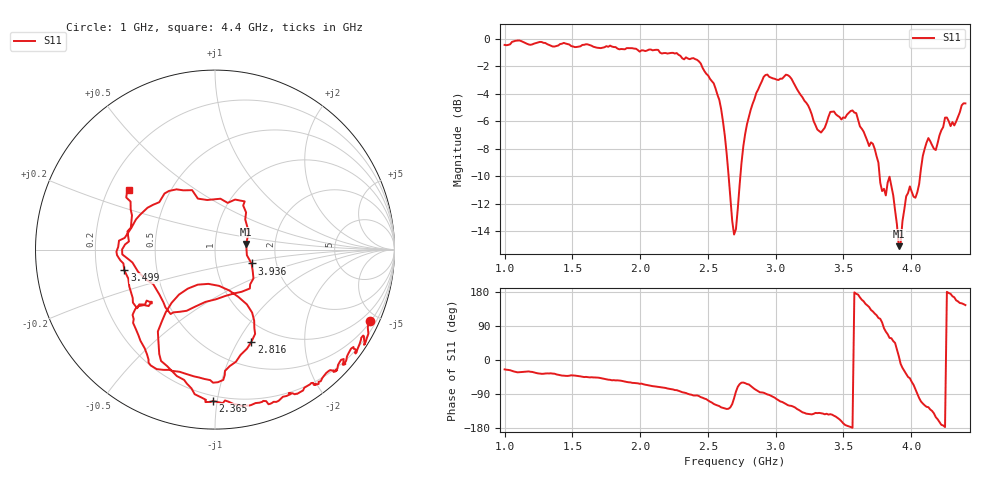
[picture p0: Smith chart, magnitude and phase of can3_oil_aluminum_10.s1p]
# MHz S MA R 50
!  freq  S11
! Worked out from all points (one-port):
!   250 points, 1 GHz to 4.4 GHz, reference 50 ohm
!   lowest |S11| = -15.1 dB at 3.908 GHz (marker M1), VSWR 1.43, Z = 70.8 + j4.65 ohm
!   |S11| at or under -10 dB: 2.653 GHz to 2.739 GHz (86.29 MHz wide, 3.2 % of centre); 3.768 GHz to 4.065 GHz (297.9 MHz wide, 7.61 % of centre)
!   S11 on the Smith chart (normalised r, x): 1 GHz: 0.54, -4.49; 2.365 GHz: 0.17, -0.97; 2.816 GHz: 0.77, -1.14; 3.499 GHz: 0.32, -0.10; 3.936 GHz: 1.49, -0.24; 4.4 GHz: 0.29, +0.29
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1000  0.9506 -24.8
1436.948  0.9668 -41.3
1860.241  0.9186 -54.8
2283.534  0.8751 -81.3
2365.462  0.8437 -90.8
2447.39  0.8135 -98.0
2597.59  0.5563 -124.9
2665.863  0.2647 -124.8
2706.827  0.2033 -83.7
2761.446  0.4072 -59.5
2816.064  0.5526 -68.5
2925.301  0.739 -88.7
3130.12  0.6955 -123.0
3225.703  0.5859 -141.6
3334.94  0.4566 -140.4
3416.867  0.5434 -144.3
3498.795  0.5183 -167.1
3553.414  0.5468 -176.8
3730.924  0.3982 122.5
3785.542  0.2797 99.0
3840.161  0.3154 58.3
3908.434  0.1764 10.4
3935.743  0.2175 -20.8
3976.707  0.2753 -44.6
4031.325  0.2645 -77.3
4126.908  0.4358 -124.6
4249.799  0.5173 -177.0
4400  0.5827 144.9
